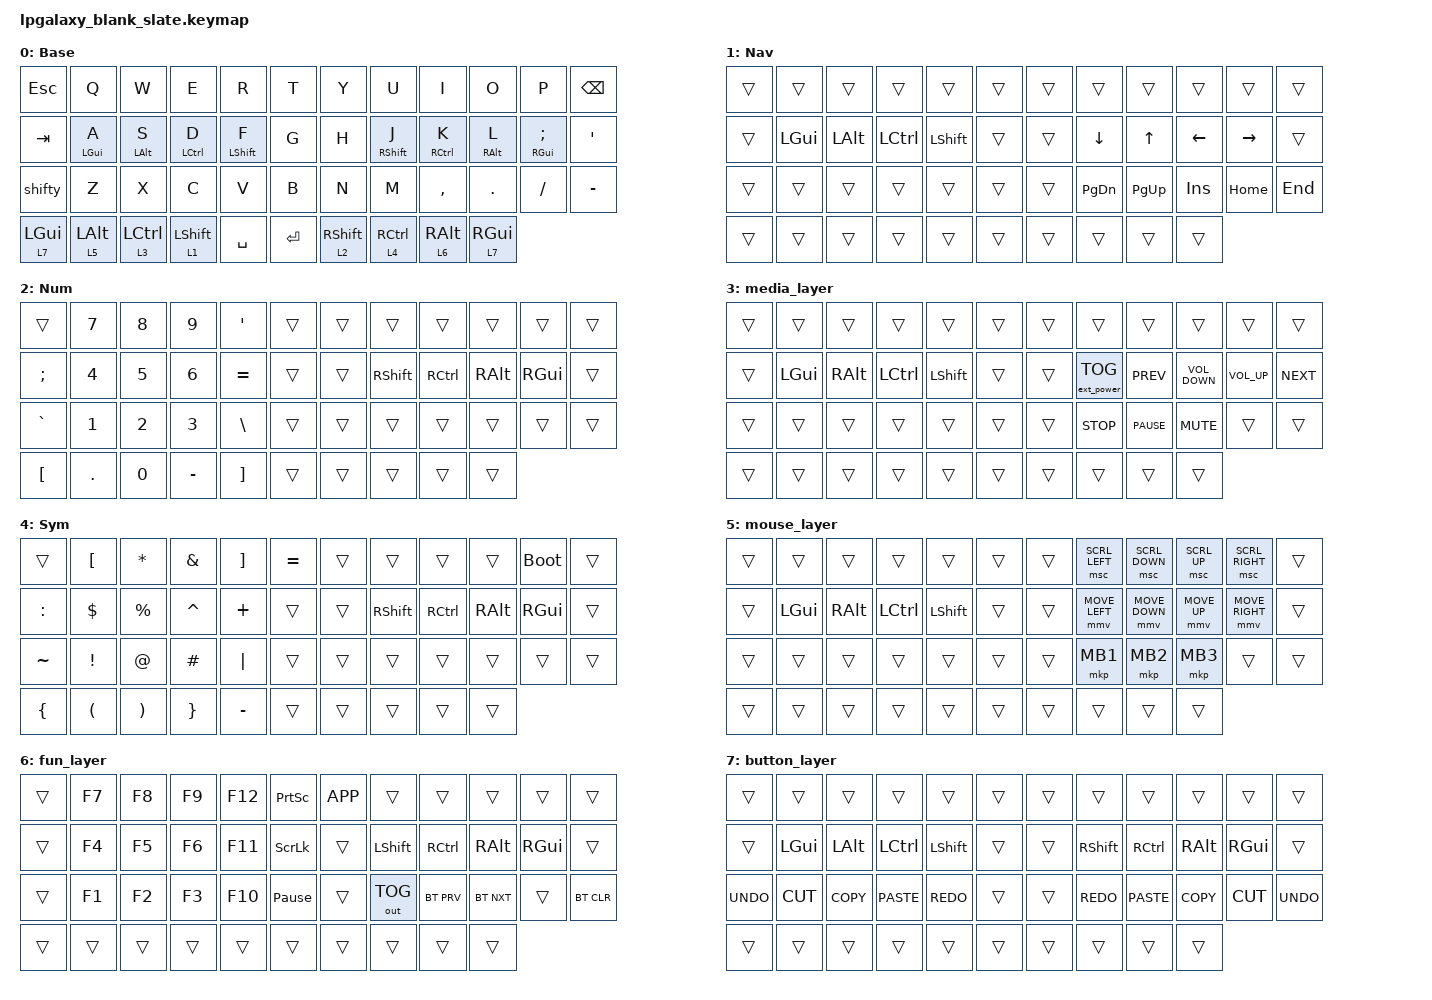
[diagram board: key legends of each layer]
/*
 * Copyright (c) 2022 Pete Johanson
 *
 * SPDX-License-Identifier: MIT
 */

#include <dt-bindings/zmk/mouse.h>
#include <behaviors.dtsi>
#include <dt-bindings/zmk/bt.h>
#include <dt-bindings/zmk/ext_power.h>
#include <dt-bindings/zmk/keys.h>
#include <dt-bindings/zmk/outputs.h>
#include <dt-bindings/zmk/pointing.h>

#define NAV_L 1
#define NUM_L 2
#define SYM_L 3
#define MEDIA_L 4
#define MOUSE_L 5
#define FUN_L 6
#define BUT_L 7

// Using layer taps on thumbs, having quick tap as well helps w/ repeating space/backspace

&lt { quick_tap_ms = <200>; };

&sk {
    release-after-ms = <1000>;
    quick-release;
};

/ {
    chosen { zmk,physical-layout = &layout_ortho_4x12_2x2u; };

    // NAV_L + NUM_L held simultaneously activates SYM layer

    conditional_layers {
        compatible = "zmk,conditional-layers";

        fn_layer {
            if-layers = <2 3>;
            then-layer = <5>;
        };
    };

    // Bootloader protected behind deliberate 2-key combo (P + BKSP, top-right corner)
    // Key positions on 4x12: P=10, BKSP=11

    combos {
        compatible = "zmk,combos";

        combo_delete {
            bindings = <&kp DEL>;
            key-positions = <10 11>;
        };
    };

    macros {
        thumbs_up: thumbs_up {
            compatible = "zmk,behavior-macro";
            #binding-cells = <0>;
            wait-ms = <1>;
            tap-ms = <5>;
            bindings = <&kp PLUS &kp COLON &kp PLUS &kp N1 &kp COLON &kp RET>;
        };
    };

    tap_dances {
        shifty: shift_caps_word {
            compatible = "zmk,behavior-tap-dance";
            label = "TD_SHIFTY";
            #binding-cells = <0>;
            tapping-term-ms = <150>;
            bindings = <&kp LSHFT>, <&caps_word>;
        };
    };

    behaviors {
        hm: homerow_mods {
            compatible = "zmk,behavior-hold-tap";
            label = "HOMEROW_MODS";
            #binding-cells = <2>;
            flavor = "balanced";
            tapping-term-ms = <280>;
            quick-tap-ms = <175>;
            require-prior-idle-ms = <150>;
            bindings = <&kp>, <&kp>;
        };

        lt_sk: layer_tap_sticky {
            compatible = "zmk,behavior-hold-tap";
            label = "LAYER_TAP_STICKY";
            #binding-cells = <2>;
            flavor = "hold-preferred";
            tapping-term-ms = <200>;
            quick-tap-ms = <200>;
            bindings = <&mo>, <&sk>;
        };
    };

    keymap {
        compatible = "zmk,keymap";

        base_layer {
            label = "Base";
            bindings = <
&kp ESC        &kp Q          &kp W           &kp E           &kp R        &kp T      &kp Y           &kp U           &kp I          &kp O          &kp P          &kp BACKSPACE
&kp TAB        &hm LGUI A     &hm LALT S      &hm LCTRL D     &hm LSHFT F  &kp G      &kp H           &hm RSHFT J     &hm RCTRL K    &hm RALT L     &hm RGUI SEMI  &kp SINGLE_QUOTE
&shifty        &kp Z          &kp X           &kp C           &kp V        &kp B      &kp N           &kp M           &kp COMMA      &kp DOT        &kp FSLH       &kp MINUS
&lt_sk 7 LGUI  &lt_sk 5 LALT  &lt_sk 3 LCTRL  &lt_sk 1 LSHFT  &kp SPACE    &kp ENTER  &lt_sk 2 RSHFT  &lt_sk 4 RCTRL  &lt_sk 6 RALT  &lt_sk 7 RGUI
            >;
        };

        nav_layer {
            label = "Nav";
            bindings = <
&trans  &trans    &trans    &trans     &trans      &trans  &trans  &trans          &trans        &trans          &trans     &trans
&trans  &kp LGUI  &kp LALT  &kp LCTRL  &kp LSHIFT  &trans  &trans  &kp DOWN_ARROW  &kp UP_ARROW  &kp LEFT_ARROW  &kp RIGHT  &trans
&trans  &trans    &trans    &trans     &trans      &trans  &trans  &kp PG_DN       &kp PG_UP     &kp INS         &kp HOME   &kp END
&trans  &trans    &trans    &trans     &trans      &trans  &trans  &trans          &trans        &trans
            >;
        };

        num_layer {
            label = "Num";
            bindings = <
&trans            &kp N7        &kp N8        &kp N9        &kp SINGLE_QUOTE   &trans  &trans  &trans      &trans     &trans    &trans    &trans
&kp SEMICOLON     &kp NUMBER_4  &kp N5        &kp NUMBER_6  &kp EQUAL          &trans  &trans  &kp RSHIFT  &kp RCTRL  &kp RALT  &kp RGUI  &trans
&kp GRAVE         &kp NUMBER_1  &kp NUMBER_2  &kp NUMBER_3  &kp BACKSLASH      &trans  &trans  &trans      &trans     &trans    &trans    &trans
&kp LEFT_BRACKET  &kp PERIOD    &kp N0        &kp MINUS     &kp RIGHT_BRACKET  &trans  &trans  &trans      &trans     &trans
            >;
        };

        media_layer {
            bindings = <
&trans  &trans    &trans    &trans     &trans     &trans  &trans  &trans             &trans       &trans             &trans           &trans
&trans  &kp LGUI  &kp RALT  &kp LCTRL  &kp LSHFT  &trans  &trans  &ext_power EP_TOG  &kp C_PREV   &kp C_VOLUME_DOWN  &kp C_VOLUME_UP  &kp C_NEXT
&trans  &trans    &trans    &trans     &trans     &trans  &trans  &kp C_STOP         &kp C_PAUSE  &kp C_MUTE         &trans           &trans
&trans  &trans    &trans    &trans     &trans     &trans  &trans  &trans             &trans       &trans
            >;
        };

        sym_layer {
            label = "Sym";
            bindings = <
&trans          &kp LEFT_BRACKET      &kp ASTERISK           &kp AMPS         &kp RIGHT_BRACKET  &kp EQUAL  &trans  &trans     &trans     &trans    &bootloader  &trans
&kp COLON       &kp DOLLAR            &kp PERCENT            &kp CARET        &kp PLUS           &trans     &trans  &kp RSHFT  &kp RCTRL  &kp RALT  &kp RGUI     &trans
&kp TILDE       &kp EXCL              &kp AT                 &kp HASH         &kp PIPE           &trans     &trans  &trans     &trans     &trans    &trans       &trans
&kp LEFT_BRACE  &kp LEFT_PARENTHESIS  &kp RIGHT_PARENTHESIS  &kp RIGHT_BRACE  &kp MINUS          &trans     &trans  &trans     &trans     &trans
            >;
        };

        mouse_layer {
            bindings = <
&trans  &trans    &trans    &trans     &trans     &trans  &trans  &msc SCRL_LEFT  &msc SCRL_DOWN  &msc SCRL_UP  &msc SCRL_RIGHT  &trans
&trans  &kp LGUI  &kp RALT  &kp LCTRL  &kp LSHFT  &trans  &trans  &mmv MOVE_LEFT  &mmv MOVE_DOWN  &mmv MOVE_UP  &mmv MOVE_RIGHT  &trans
&trans  &trans    &trans    &trans     &trans     &trans  &trans  &mkp MB1        &mkp MB2        &mkp MB3      &trans           &trans
&trans  &trans    &trans    &trans     &trans     &trans  &trans  &trans          &trans          &trans
            >;
        };

        fun_layer {
            bindings = <
&trans  &kp F7  &kp F8  &kp F9  &kp F12  &kp PSCRN        &kp K_APP  &trans        &trans      &trans      &trans    &trans
&trans  &kp F4  &kp F5  &kp F6  &kp F11  &kp SLCK         &trans     &kp LSHFT     &kp RCTRL   &kp RALT    &kp RGUI  &trans
&trans  &kp F1  &kp F2  &kp F3  &kp F10  &kp PAUSE_BREAK  &trans     &out OUT_TOG  &bt BT_PRV  &bt BT_NXT  &trans    &bt BT_CLR
&trans  &trans  &trans  &trans  &trans   &trans           &trans     &trans        &trans      &trans
            >;
        };

        button_layer {
            bindings = <
&trans      &trans     &trans      &trans       &trans      &trans  &trans  &trans      &trans       &trans      &trans     &trans
&trans      &kp LGUI   &kp LALT    &kp LCTRL    &kp LSHFT   &trans  &trans  &kp RSHFT   &kp RCTRL    &kp RALT    &kp RGUI   &trans
&kp K_UNDO  &kp K_CUT  &kp K_COPY  &kp K_PASTE  &kp K_REDO  &trans  &trans  &kp K_REDO  &kp K_PASTE  &kp K_COPY  &kp K_CUT  &kp K_UNDO
&trans      &trans     &trans      &trans       &trans      &trans  &trans  &trans      &trans       &trans
            >;
        };
    };
};
